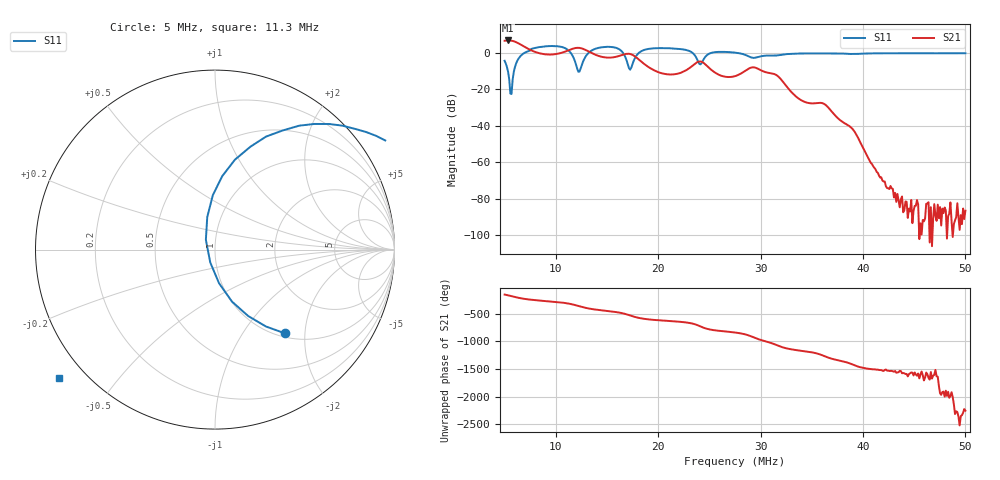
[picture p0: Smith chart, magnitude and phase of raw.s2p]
! S11/S21 only; reverse parameters are placeholders. Device calibration unverified.
! NanoVNA F V2 profile | COM3 | 2026-09-08T12:24:01.6343094-04:00 | device calibration unverified
# HZ S RI R 50
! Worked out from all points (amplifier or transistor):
!   401 points, 5 MHz to 50 MHz, reference 50 ohm
!   highest |S21| = 6.8 dB at 5.338 MHz (marker M1)
!   |S21| within 3 dB of that: start of sweep to 6.798 MHz
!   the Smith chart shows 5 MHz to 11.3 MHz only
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5000000  0.3893 -0.4664  -1.976 -0.8499  0 0  0 0
5337500  0.0949 -0.29  -2.162 -0.3691  0 0  0 0
6237500  0.1975 0.5734  -1.63 0.9733  0 0  0 0
7250000  0.8983 0.6335  -0.5959 1.173  0 0  0 0
7812500  0.5489 -1.214  -0.2903 1.07  0 0  0 0
9725000  -0.1476 -1.532  0.2356 0.8752  0 0  0 0
1.14125e7  -0.8662 -0.5736  1.016 0.6905  0 0  0 0
1.25375e7  0.3781 0.2679  1.251 -0.4392  0 0  0 0
1.36625e7  1.086 -0.5747  0.4365 -0.8352  0 0  0 0
1.54625e7  0.55 -1.34  -0.1622 -0.7297  0 0  0 0
1.625e7  -0.0981 -1.224  -0.4723 -0.6889  0 0  0 0
1.6925e7  -0.5219 -0.3099  -0.8514 -0.4024  0 0  0 0
1.77125e7  0.4919 0.5065  -0.7581 0.2784  0 0  0 0
1.86125e7  1.198 0.059  -0.2883 0.4108  0 0  0 0
2.0075e7  1.272 -0.4594  -0.0432 0.2882  0 0  0 0
2.39e7  0.3579 -0.4523  0.5682 0.0582  0 0  0 0
2.75e7  0.8523 -0.5522  -0.1226 -0.1949  0 0  0 0
2.9975e7  0.7171 -0.3534  -0.0928 0.3269  0 0  0 0
3.50375e7  0.7007 -0.6658  -0.0212 -0.0353  0 0  0 0
3.8975e7  0.5343 -0.7594  0.00767 0.003  0 0  0 0
4.2575e7  0.4421 -0.8692  -2.3e-05 -0.000183  0 0  0 0
5e7  0.1594 -0.9646  -3e-06 -4.7e-05  0 0  0 0
